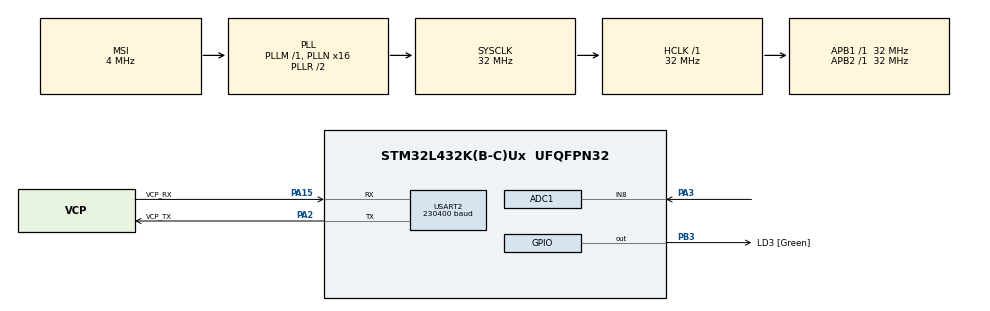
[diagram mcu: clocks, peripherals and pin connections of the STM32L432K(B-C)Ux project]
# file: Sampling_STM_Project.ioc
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ADC1.Channel-0\#ChannelRegularConversion=ADC_CHANNEL_8
ADC1.NbrOfConversionFlag=1
ADC1.OffsetNumber-0\#ChannelRegularConversion=ADC_OFFSET_NONE
ADC1.Rank-0\#ChannelRegularConversion=1
ADC1.SamplingTime-0\#ChannelRegularConversion=ADC_SAMPLETIME_2CYCLES_5
ADC1.master=1
Mcu.Family=STM32L4
Mcu.Name=STM32L432K(B-C)Ux
Mcu.Package=UFQFPN32
NVIC.ADC1_IRQn=true\:0\:0\:false\:false\:true\:true\:true\:true
NVIC.PriorityGroup=NVIC_PRIORITYGROUP_4
NVIC.TIM7_IRQn=true\:0\:0\:false\:false\:true\:true\:true\:true
NVIC.USART2_IRQn=true\:0\:0\:false\:false\:true\:true\:true\:true
PA0.GPIO_Label=MCO [High speed clock in]
PA0.Mode=HSE-External-Clock-Source-for-LittleOrca
PA0.Signal=RCC_CK_IN
PA13\ (JTMS-SWDIO).GPIO_Label=SWDIO
PA13\ (JTMS-SWDIO).Mode=Serial_Wire
PA13\ (JTMS-SWDIO).Signal=SYS_JTMS-SWDIO
PA14\ (JTCK-SWCLK).GPIO_Label=SWCLK
PA14\ (JTCK-SWCLK).Mode=Serial_Wire
PA14\ (JTCK-SWCLK).Signal=SYS_JTCK-SWCLK
PA15\ (JTDI).GPIO_Label=VCP_RX
PA15\ (JTDI).Mode=Asynchronous
PA15\ (JTDI).Signal=USART2_RX
PA2.GPIO_Label=VCP_TX
PA2.Mode=Asynchronous
PA2.Signal=USART2_TX
PA3.Signal=ADCx_IN8
PB3\ (JTDO-TRACESWO).GPIO_Label=LD3 [Green]
PB3\ (JTDO-TRACESWO).Signal=GPIO_Output
PC14-OSC32_IN\ (PC14).Mode=LSE-External-Oscillator
PC14-OSC32_IN\ (PC14).Signal=RCC_OSC32_IN
PC15-OSC32_OUT\ (PC15).Mode=LSE-External-Oscillator
PC15-OSC32_OUT\ (PC15).Signal=RCC_OSC32_OUT
ProjectManager.HeapSize=0x200
ProjectManager.StackSize=0x400
ProjectManager.TargetToolchain=STM32CubeIDE
RCC.ADCFreq_Value=32000000
RCC.AHBFreq_Value=32000000
RCC.APB1Freq_Value=32000000
RCC.APB1TimFreq_Value=32000000
RCC.APB2Freq_Value=32000000
RCC.APB2TimFreq_Value=32000000
RCC.CortexFreq_Value=32000000
RCC.HCLKFreq_Value=32000000
RCC.HSE_VALUE=8000000
RCC.HSI16_VALUE=16000000
RCC.HSI48_VALUE=48000000
RCC.HSI_VALUE=16000000
RCC.MSI_VALUE=4000000
RCC.PLLMUL=RCC_PLLMUL_4
RCC.PLLN=16
RCC.PLLSAI1N=16
RCC.SYSCLKFreq_VALUE=32000000
RCC.SYSCLKSource=RCC_SYSCLKSOURCE_PLLCLK
RCC.USBFreq_Value=32000000
RCC.VCOOutputFreq_Value=64000000
SH.ADCx_IN8.0=ADC1_IN8,IN8-Single-Ended
TIM7.Period=100-1
TIM7.Prescaler=50-1
USART2.BaudRate=230400
USART2.VirtualMode-Asynchronous=VM_ASYNC
VP_TIM7_VS_ClockSourceINT.Mode=Enable_Timer
board=NUCLEO-L432KC

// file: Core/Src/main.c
/* USER CODE BEGIN Header */
/**
  ******************************************************************************
  * @file           : main.c
  * @brief          : Main program body
  ******************************************************************************
  * @attention
  *
  * Copyright (c) 2026 STMicroelectronics.
  * All rights reserved.
  *
  * This software is licensed under terms that can be found in the LICENSE file
  * in the root directory of this software component.
  * If no LICENSE file comes with this software, it is provided AS-IS.
  *
  ******************************************************************************
  */
/* USER CODE END Header */
#include "main.h"

/* USER CODE BEGIN Includes */
#include <stdio.h>
#include <string.h>
/* USER CODE END Includes */

ADC_HandleTypeDef hadc1;

TIM_HandleTypeDef htim7;

UART_HandleTypeDef huart2;

/* USER CODE BEGIN PV */
//use to store the temporary result of the latest ADC version
uint16_t raw_ADC_value =0;
//broken to two bytes and store in 8-bit array
uint8_t raw_ADC_value_1[2]={0};
uint16_t temp = 0;
//write the value of variable DC value
char string_1[40]="\0";

/* USER CODE END PV */

void SystemClock_Config(void);
static void MX_GPIO_Init(void);
static void MX_USART2_UART_Init(void);
static void MX_ADC1_Init(void);
static void MX_TIM7_Init(void);

int main(void)
{

  /* MCU Configuration--------------------------------------------------------*/

  /* Reset of all peripherals, Initializes the Flash interface and the Systick. */
  HAL_Init();

  /* Configure the system clock */
  SystemClock_Config();

  /* Initialize all configured peripherals */
  MX_GPIO_Init();
  MX_USART2_UART_Init();
  MX_ADC1_Init();
  MX_TIM7_Init();
  /* USER CODE BEGIN 2 */
  HAL_TIM_Base_Start_IT(&htim7);
  /* USER CODE END 2 */

  /* Infinite loop */
  while (1)
  {

  }
}

void SystemClock_Config(void)
{
  RCC_OscInitTypeDef RCC_OscInitStruct = {0};
  RCC_ClkInitTypeDef RCC_ClkInitStruct = {0};

  /** Configure the main internal regulator output voltage
  */
  if (HAL_PWREx_ControlVoltageScaling(PWR_REGULATOR_VOLTAGE_SCALE1) != HAL_OK)
  {
    Error_Handler();
  }

  /** Configure LSE Drive Capability
  */
  HAL_PWR_EnableBkUpAccess();
  __HAL_RCC_LSEDRIVE_CONFIG(RCC_LSEDRIVE_LOW);

  /** Initializes the RCC Oscillators according to the specified parameters
  * in the RCC_OscInitTypeDef structure.
  */
  RCC_OscInitStruct.OscillatorType = RCC_OSCILLATORTYPE_LSE|RCC_OSCILLATORTYPE_MSI;
  RCC_OscInitStruct.LSEState = RCC_LSE_ON;
  RCC_OscInitStruct.MSIState = RCC_MSI_ON;
  RCC_OscInitStruct.MSICalibrationValue = 0;
  RCC_OscInitStruct.MSIClockRange = RCC_MSIRANGE_6;
  RCC_OscInitStruct.PLL.PLLState = RCC_PLL_ON;
  RCC_OscInitStruct.PLL.PLLSource = RCC_PLLSOURCE_MSI;
  RCC_OscInitStruct.PLL.PLLM = 1;
  RCC_OscInitStruct.PLL.PLLN = 16;
  RCC_OscInitStruct.PLL.PLLP = RCC_PLLP_DIV7;
  RCC_OscInitStruct.PLL.PLLQ = RCC_PLLQ_DIV2;
  RCC_OscInitStruct.PLL.PLLR = RCC_PLLR_DIV2;
  if (HAL_RCC_OscConfig(&RCC_OscInitStruct) != HAL_OK)
  {
    Error_Handler();
  }

  /** Initializes the CPU, AHB and APB buses clocks
  */
  RCC_ClkInitStruct.ClockType = RCC_CLOCKTYPE_HCLK|RCC_CLOCKTYPE_SYSCLK
                              |RCC_CLOCKTYPE_PCLK1|RCC_CLOCKTYPE_PCLK2;
  RCC_ClkInitStruct.SYSCLKSource = RCC_SYSCLKSOURCE_PLLCLK;
  RCC_ClkInitStruct.AHBCLKDivider = RCC_SYSCLK_DIV1;
  RCC_ClkInitStruct.APB1CLKDivider = RCC_HCLK_DIV1;
  RCC_ClkInitStruct.APB2CLKDivider = RCC_HCLK_DIV1;

  if (HAL_RCC_ClockConfig(&RCC_ClkInitStruct, FLASH_LATENCY_1) != HAL_OK)
  {
    Error_Handler();
  }

  /** Enable MSI Auto calibration
  */
  HAL_RCCEx_EnableMSIPLLMode();
}

static void MX_ADC1_Init(void)
{

  ADC_ChannelConfTypeDef sConfig = {0};

  /** Common config
  */
  hadc1.Instance = ADC1;
  hadc1.Init.ClockPrescaler = ADC_CLOCK_ASYNC_DIV1;
  hadc1.Init.Resolution = ADC_RESOLUTION_12B;
  hadc1.Init.DataAlign = ADC_DATAALIGN_RIGHT;
  hadc1.Init.ScanConvMode = ADC_SCAN_DISABLE;
  hadc1.Init.EOCSelection = ADC_EOC_SINGLE_CONV;
  hadc1.Init.LowPowerAutoWait = DISABLE;
  hadc1.Init.ContinuousConvMode = DISABLE;
  hadc1.Init.NbrOfConversion = 1;
  hadc1.Init.DiscontinuousConvMode = DISABLE;
  hadc1.Init.ExternalTrigConv = ADC_SOFTWARE_START;
  hadc1.Init.ExternalTrigConvEdge = ADC_EXTERNALTRIGCONVEDGE_NONE;
  hadc1.Init.DMAContinuousRequests = DISABLE;
  hadc1.Init.Overrun = ADC_OVR_DATA_PRESERVED;
  hadc1.Init.OversamplingMode = DISABLE;
  if (HAL_ADC_Init(&hadc1) != HAL_OK)
  {
    Error_Handler();
  }

  /** Configure Regular Channel
  */
  sConfig.Channel = ADC_CHANNEL_8;
  sConfig.Rank = ADC_REGULAR_RANK_1;
  sConfig.SamplingTime = ADC_SAMPLETIME_2CYCLES_5;
  sConfig.SingleDiff = ADC_SINGLE_ENDED;
  sConfig.OffsetNumber = ADC_OFFSET_NONE;
  sConfig.Offset = 0;
  if (HAL_ADC_ConfigChannel(&hadc1, &sConfig) != HAL_OK)
  {
    Error_Handler();
  }

}

static void MX_TIM7_Init(void)
{

  TIM_MasterConfigTypeDef sMasterConfig = {0};

  htim7.Instance = TIM7;
  htim7.Init.Prescaler = 50-1;
  htim7.Init.CounterMode = TIM_COUNTERMODE_UP;
  htim7.Init.Period = 100-1;
  htim7.Init.AutoReloadPreload = TIM_AUTORELOAD_PRELOAD_DISABLE;
  if (HAL_TIM_Base_Init(&htim7) != HAL_OK)
  {
    Error_Handler();
  }
  sMasterConfig.MasterOutputTrigger = TIM_TRGO_RESET;
  sMasterConfig.MasterSlaveMode = TIM_MASTERSLAVEMODE_DISABLE;
  if (HAL_TIMEx_MasterConfigSynchronization(&htim7, &sMasterConfig) != HAL_OK)
  {
    Error_Handler();
  }

}

static void MX_USART2_UART_Init(void)
{

  huart2.Instance = USART2;
  huart2.Init.BaudRate = 230400;
  huart2.Init.WordLength = UART_WORDLENGTH_8B;
  huart2.Init.StopBits = UART_STOPBITS_1;
  huart2.Init.Parity = UART_PARITY_NONE;
  huart2.Init.Mode = UART_MODE_TX_RX;
  huart2.Init.HwFlowCtl = UART_HWCONTROL_NONE;
  huart2.Init.OverSampling = UART_OVERSAMPLING_16;
  huart2.Init.OneBitSampling = UART_ONE_BIT_SAMPLE_DISABLE;
  huart2.AdvancedInit.AdvFeatureInit = UART_ADVFEATURE_NO_INIT;
  if (HAL_UART_Init(&huart2) != HAL_OK)
  {
    Error_Handler();
  }

}

static void MX_GPIO_Init(void)
{
  GPIO_InitTypeDef GPIO_InitStruct = {0};

  /* GPIO Ports Clock Enable */
  __HAL_RCC_GPIOC_CLK_ENABLE();
  __HAL_RCC_GPIOA_CLK_ENABLE();
  __HAL_RCC_GPIOB_CLK_ENABLE();

  /*Configure GPIO pin Output Level */
  HAL_GPIO_WritePin(LD3_GPIO_Port, LD3_Pin, GPIO_PIN_RESET);

  /*Configure GPIO pin : LD3_Pin */
  GPIO_InitStruct.Pin = LD3_Pin;
  GPIO_InitStruct.Mode = GPIO_MODE_OUTPUT_PP;
  GPIO_InitStruct.Pull = GPIO_NOPULL;
  GPIO_InitStruct.Speed = GPIO_SPEED_FREQ_LOW;
  HAL_GPIO_Init(LD3_GPIO_Port, &GPIO_InitStruct);

}

/* USER CODE BEGIN 4 */
void HAL_TIM_PeriodElapsedCallback (TIM_HandleTypeDef* htim)
{
  if (htim == &htim7)
  {
    //start ADC
    HAL_ADC_Start(&hadc1);
    //wait for conversion
    HAL_ADC_PollForConversion(&hadc1,10);
    //get the unsigned 12-bit ADC data
    raw_ADC_value = HAL_ADC_GetValue(&hadc1);
    //print the raw ADC value into string 1
    // sprintf(string_1,"raw ADC value: %d\n",raw_ADC_value);
    //Transmit string_1 over UART
    // HAL_UART_Transmit(&huart2,(uint8_t*)string_1,strlen(string_1),10);
    //Extract least significant 8 bits of ADC data
    temp = raw_ADC_value & 0xFF;
    raw_ADC_value_1[0] = temp;
    //Extract most significant 8 bits of ADC data
    temp = raw_ADC_value >>8;
    raw_ADC_value_1[1] = temp;
    //Transmit 16-bit ADC data through UART
    HAL_UART_Transmit(&huart2,(uint8_t*)raw_ADC_value_1,2,10);
    //stop ADC
    HAL_ADC_Stop(&hadc1);
  }
}
/* USER CODE END 4 */

void Error_Handler(void)
{
  __disable_irq();
  while (1)
  {
  }
}
